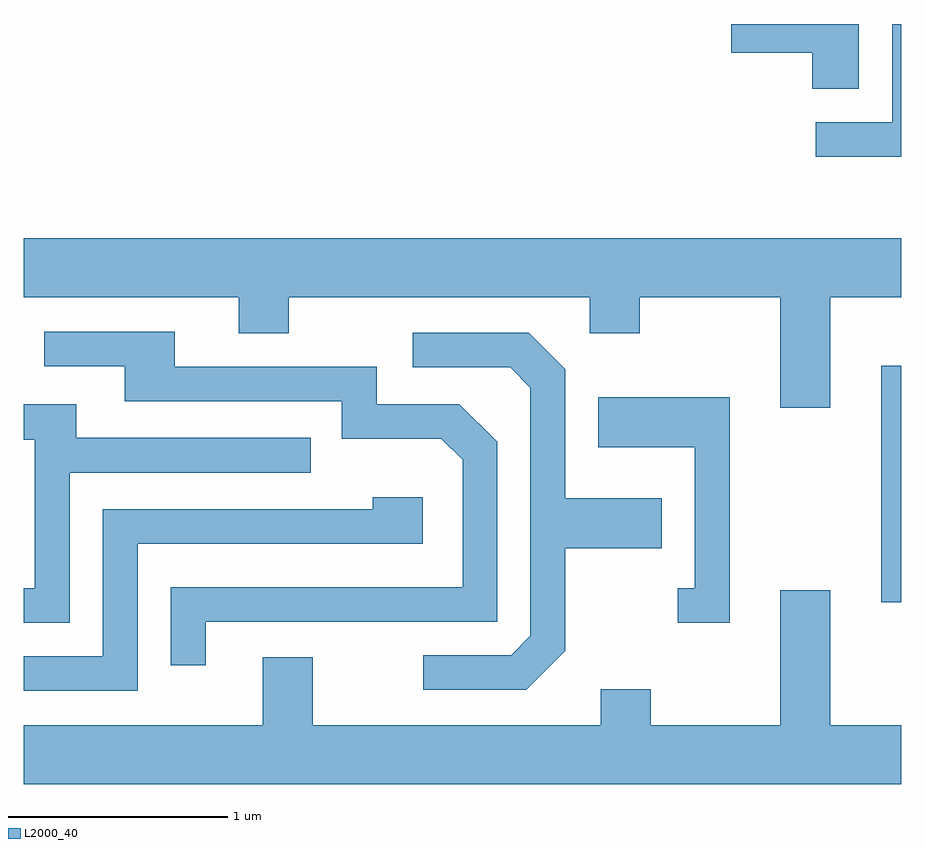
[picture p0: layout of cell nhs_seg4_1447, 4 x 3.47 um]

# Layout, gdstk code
import gdstk
lib = gdstk.Library(unit=1e-6, precision=1e-09)
def R(c, l, rs):  # rectangles x0, y0, x1, y1
    for r in rs: c.add(gdstk.rectangle(r[:2], r[2:], *l))
def P(c, l, *ps):  # polygons
    for p in ps: c.add(gdstk.Polygon(p, *l))
L2000_40 = (2000, 40)

nhs_seg4_1447 = lib.new_cell('nhs_seg4_1447')
R(nhs_seg4_1447, L2000_40, [(231.521,1293.346,231.611,1294.424)])
P(nhs_seg4_1447, L2000_40, [(231.611,1295.982),(231.571,1295.982),(231.571,1295.534),(231.223,1295.534),(231.223,1295.376),(231.611,1295.376)],
  [(231.419,1295.982),(230.836,1295.982),(230.836,1295.851),(231.206,1295.851),(231.206,1295.686),(231.419,1295.686)],
  [(231.289,1294.736),(231.611,1294.736),(231.611,1295.004),(227.611,1295.004),(227.611,1294.736),(228.591,1294.736),(228.591,1294.571),(228.819,1294.571),(228.819,1294.736),(230.191,1294.736),(230.191,1294.571),(230.419,1294.571),(230.419,1294.736),(231.061,1294.736),(231.061,1294.231),(231.289,1294.231)],
  [(228.439,1293.256),(229.769,1293.256),(229.769,1294.077),(229.597,1294.249),(229.219,1294.249),(229.219,1294.419),(228.299,1294.419),(228.299,1294.579),(227.703,1294.579),(227.703,1294.421),(228.071,1294.421),(228.071,1294.261),(229.061,1294.261),(229.061,1294.091),(229.514,1294.091),(229.611,1293.994),(229.611,1293.414),(228.281,1293.414),(228.281,1293.058),(228.439,1293.058)],
  [(230.079,1293.124),(230.079,1293.591),(230.519,1293.591),(230.519,1293.819),(230.079,1293.819),(230.079,1294.407),(229.912,1294.574),(229.383,1294.574),(229.383,1294.416),(229.829,1294.416),(229.921,1294.324),(229.921,1293.192),(229.834,1293.104),(229.433,1293.104),(229.433,1292.946),(229.902,1292.946)],
  [(230.829,1294.279),(230.231,1294.279),(230.231,1294.051),(230.671,1294.051),(230.671,1293.409),(230.593,1293.409),(230.593,1293.251),(230.829,1293.251)],
  [(227.819,1293.936),(228.918,1293.936),(228.918,1294.094),(227.849,1294.094),(227.849,1294.249),(227.611,1294.249),(227.611,1294.086),(227.661,1294.086),(227.661,1293.409),(227.611,1293.409),(227.611,1293.251),(227.819,1293.251)],
  [(228.129,1293.611),(229.429,1293.611),(229.429,1293.824),(229.201,1293.824),(229.201,1293.769),(227.971,1293.769),(227.971,1293.099),(227.611,1293.099),(227.611,1292.941),(228.129,1292.941)],
  [(231.611,1292.784),(231.289,1292.784),(231.289,1293.399),(231.061,1293.399),(231.061,1292.784),(230.469,1292.784),(230.469,1292.949),(230.241,1292.949),(230.241,1292.784),(228.929,1292.784),(228.929,1293.094),(228.701,1293.094),(228.701,1292.784),(227.611,1292.784),(227.611,1292.516),(231.611,1292.516)])

lib.write_gds('nhs_seg4_1447.gds')
